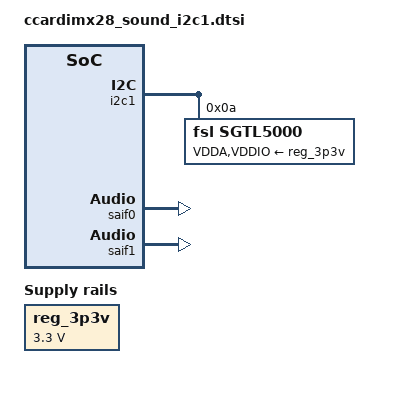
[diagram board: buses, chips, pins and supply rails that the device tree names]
/*
 * Copyright 2013 Digi International, Inc.
 *
 * The code contained herein is licensed under the GNU General Public
 * License. You may obtain a copy of the GNU General Public License
 * Version 2 or later at the following locations:
 *
 * http://www.opensource.org/licenses/gpl-license.html
 * http://www.gnu.org/copyleft/gpl.html
 */

/ {
	apb@80000000 {
		apbx@80040000 {
			i2c1: i2c@8005a000 {
				pinctrl-names = "default";
				pinctrl-0 = <&i2c1_pins_a>;
				status = "okay";

				sgtl5000: codec@0a {
					compatible = "fsl,sgtl5000";
					reg = <0x0a>;
					VDDA-supply = <&reg_3p3v>;
					VDDIO-supply = <&reg_3p3v>;
				};
			};

			saif0: saif@80042000 {
				pinctrl-names = "default";
				pinctrl-0 = <&saif0_pins_a>;
				status = "okay";
			};

			saif1: saif@80046000 {
				pinctrl-names = "default";
				pinctrl-0 = <&saif1_pins_b>;
				fsl,saif-master = <&saif0>;
				status = "okay";
			};
		};
	};

	sound {
		compatible = "fsl,ccardimx28js-sgtl5000",
			     "fsl,mxs-audio-sgtl5000";
		model = "imx28-evk-sgtl5000";
		saif-controllers = <&saif0 &saif1>;
		audio-codec = <&sgtl5000>;
	};

	regulators {
		compatible = "simple-bus";

		reg_3p3v: 3p3v {
			compatible = "regulator-fixed";
			regulator-name = "3P3V";
			regulator-min-microvolt = <3300000>;
			regulator-max-microvolt = <3300000>;
			regulator-always-on;
		};
	};
};
